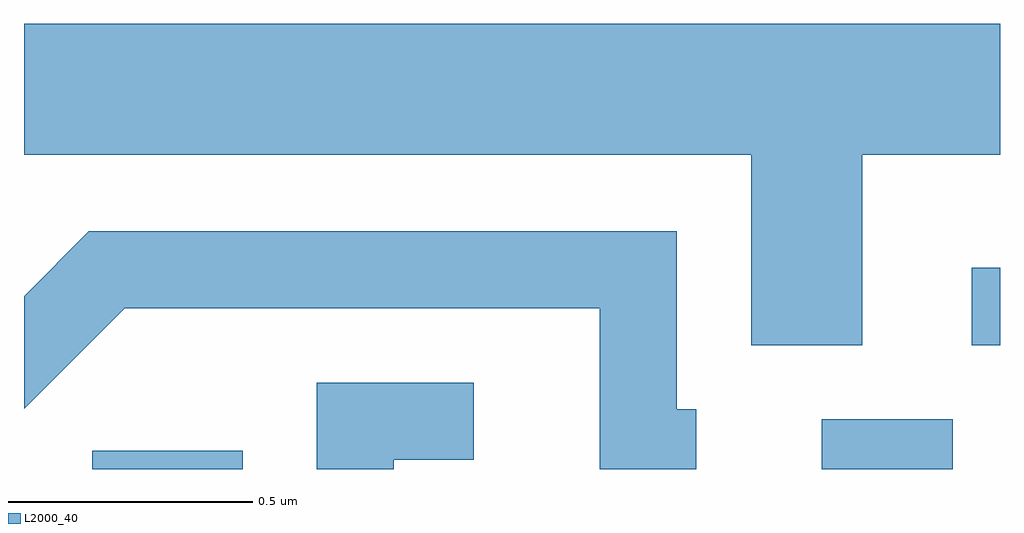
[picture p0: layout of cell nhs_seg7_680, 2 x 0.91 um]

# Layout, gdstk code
import gdstk
lib = gdstk.Library(unit=1e-6, precision=1e-09)
def R(c, l, rs):  # rectangles x0, y0, x1, y1
    for r in rs: c.add(gdstk.rectangle(r[:2], r[2:], *l))
def P(c, l, *ps):  # polygons
    for p in ps: c.add(gdstk.Polygon(p, *l))
L2000_40 = (2000, 40)

nhs_seg7_680 = lib.new_cell('nhs_seg7_680')
R(nhs_seg7_680, L2000_40, [(189.751,1800.252,190.059,1800.289), (191.246,1800.252,191.514,1800.354), (191.553,1800.506,191.611,1800.664)])
P(nhs_seg7_680, L2000_40, [(191.329,1800.896),(191.611,1800.896),(191.611,1801.164),(189.611,1801.164),(189.611,1800.896),(191.101,1800.896),(191.101,1800.506),(191.329,1800.506)],
  [(190.989,1800.374),(190.949,1800.374),(190.949,1800.739),(189.744,1800.739),(189.611,1800.606),(189.611,1800.376),(189.817,1800.581),(190.791,1800.581),(190.791,1800.252),(190.989,1800.252)],
  [(190.369,1800.271),(190.533,1800.271),(190.533,1800.429),(190.211,1800.429),(190.211,1800.252),(190.369,1800.252)])

lib.write_gds('nhs_seg7_680.gds')
